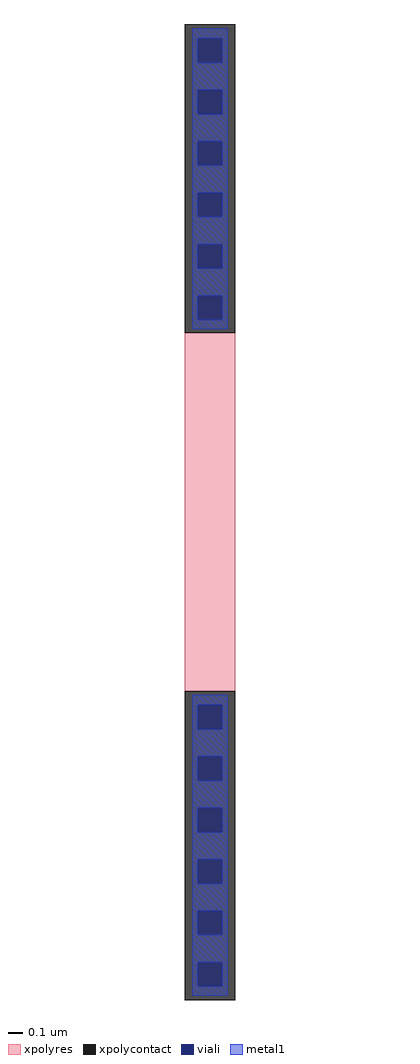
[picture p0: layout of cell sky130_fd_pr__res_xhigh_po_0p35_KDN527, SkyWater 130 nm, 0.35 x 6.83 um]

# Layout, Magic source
magic
tech sky130A
magscale 1 2
<< xpolycontact >>
rect -35 251 35 683
rect -35 -683 35 -251
<< xpolyres >>
rect -35 -251 35 251
<< viali >>
rect -17 629 17 663
rect -17 557 17 591
rect -17 485 17 519
rect -17 413 17 447
rect -17 341 17 375
rect -17 269 17 303
rect -17 -304 17 -270
rect -17 -376 17 -342
rect -17 -448 17 -414
rect -17 -520 17 -486
rect -17 -592 17 -558
rect -17 -664 17 -630
<< metal1 >>
rect -25 663 25 677
rect -25 629 -17 663
rect 17 629 25 663
rect -25 591 25 629
rect -25 557 -17 591
rect 17 557 25 591
rect -25 519 25 557
rect -25 485 -17 519
rect 17 485 25 519
rect -25 447 25 485
rect -25 413 -17 447
rect 17 413 25 447
rect -25 375 25 413
rect -25 341 -17 375
rect 17 341 25 375
rect -25 303 25 341
rect -25 269 -17 303
rect 17 269 25 303
rect -25 256 25 269
rect -25 -270 25 -256
rect -25 -304 -17 -270
rect 17 -304 25 -270
rect -25 -342 25 -304
rect -25 -376 -17 -342
rect 17 -376 25 -342
rect -25 -414 25 -376
rect -25 -448 -17 -414
rect 17 -448 25 -414
rect -25 -486 25 -448
rect -25 -520 -17 -486
rect 17 -520 25 -486
rect -25 -558 25 -520
rect -25 -592 -17 -558
rect 17 -592 25 -558
rect -25 -630 25 -592
rect -25 -664 -17 -630
rect 17 -664 25 -630
rect -25 -677 25 -664
<< end >>
